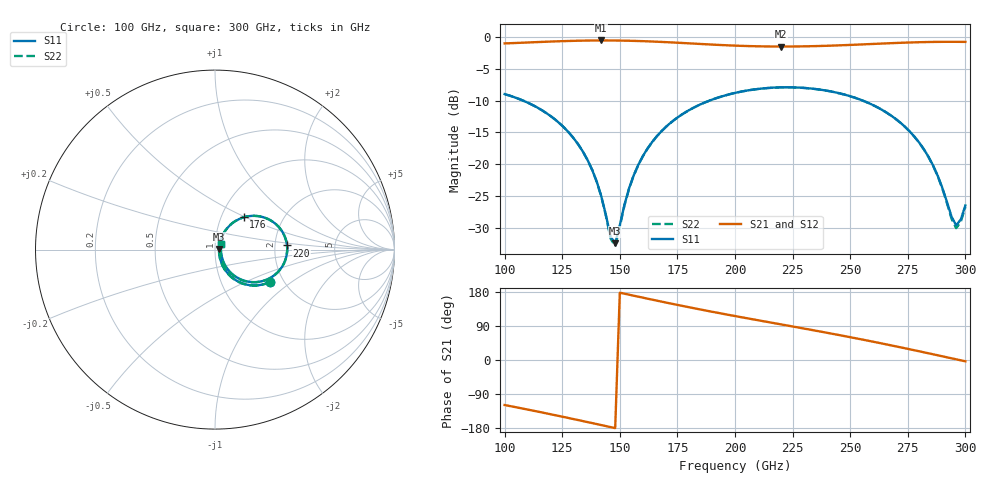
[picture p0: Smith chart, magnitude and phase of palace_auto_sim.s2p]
#  GHZ S DB R 50
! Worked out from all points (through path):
!   101 points, 100 GHz to 300 GHz, reference 50 ohm
!   highest |S21| = -0.55 dB at 142 GHz (marker M1); lowest = -1.5 dB at 220 GHz (marker M2)
!   group delay of S21, straight-line fit = 3.34 ps
!   lowest |S11| = -32.4 dB at 148 GHz (marker M3), VSWR 1.05, Z = 52.4 + j0.446 ohm
!   |S11| at or under -10 dB: 108.1 GHz to 188.9 GHz (80.83 GHz wide, 54.4 % of centre); 255.5 GHz to end of sweep
!   |S22| runs from -32.8 to -7.9 dB; largest |S21 - S12| = 1.1e-14
!   S11 on the Smith chart (normalised r, x): 100 GHz: 1.71, -0.70; 176 GHz: 1.27, +0.49; 220 GHz: 2.34, +0.13; 300 GHz: 1.07, +0.07
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100  -8.97 -30.1  -1.02 -118.9  -1.02 -118.9  -8.97 -30.3
120  -12.43 -51.4  -0.73 -143.2  -0.73 -143.2  -12.43 -51.7
134  -18.01 -63.5  -0.58 -161.2  -0.58 -161.2  -18.02 -64.1
138  -20.86 -64.3  -0.56 -166.5  -0.56 -166.5  -20.87 -65.1
142  -25.05 -59.5  -0.55 -171.8  -0.55 -171.8  -25.11 -60.7
146  -31.34 -29.4  -0.56 -177.1  -0.56 -177.1  -31.65 -31.0
148  -32.40 10.2  -0.56 -179.7  -0.56 -179.7  -32.84 10.5
152  -26.36 53.9  -0.58 175.0  -0.58 175.0  -26.48 55.0
156  -21.75 61.5  -0.62 169.7  -0.62 169.7  -21.80 62.1
162  -17.53 60.6  -0.69 161.9  -0.69 161.9  -17.55 61.0
168  -14.83 56.1  -0.78 154.2  -0.78 154.2  -14.84 56.3
176  -12.40 48.5  -0.93 144.2  -0.93 144.2  -12.41 48.6
200  -8.79 24.0  -1.36 116.0  -1.36 116.0  -8.79 24.0
220  -7.91 3.3  -1.51 94.0  -1.51 94.0  -7.92 3.3
234  -8.14 -11.2  -1.45 78.5  -1.45 78.5  -8.14 -11.3
252  -9.54 -30.0  -1.22 57.8  -1.22 57.8  -9.54 -30.3
268  -12.41 -46.5  -0.98 38.3  -0.98 38.3  -12.41 -46.8
276  -14.90 -53.6  -0.87 28.1  -0.87 28.1  -14.91 -54.1
284  -18.82 -57.3  -0.80 17.7  -0.80 17.7  -18.86 -58.1
288  -21.80 -55.1  -0.78 12.4  -0.78 12.4  -21.87 -56.2
296  -29.57 -2.7  -0.77 1.8  -0.77 1.8  -30.02 -3.0
300  -26.46 41.4  -0.78 -3.5  -0.78 -3.5  -26.67 42.9
